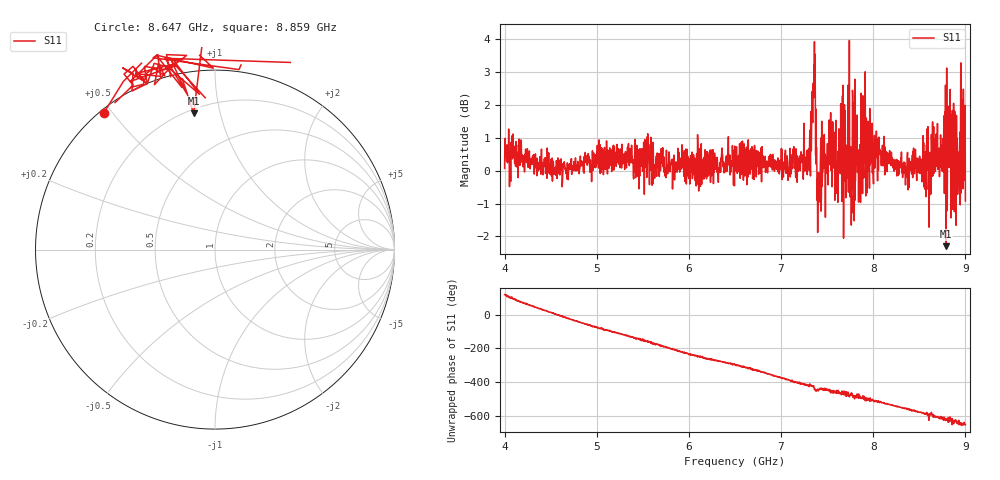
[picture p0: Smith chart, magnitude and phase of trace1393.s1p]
! Created with skrf 1.8.0 (http://scikit-rf.org).
# Hz S RI R 50.0
!freq ReS11 ImS11
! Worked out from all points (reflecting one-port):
!   1601 points, 4 GHz to 9 GHz, reference 50 ohm
!   lowest |S11| = -2.3 dB at 8.791 GHz (marker M1), VSWR 7.62, Z = 11.2 + j41.5 ohm
!   phase of S11 starts at 120 deg and turns -773 deg over the sweep
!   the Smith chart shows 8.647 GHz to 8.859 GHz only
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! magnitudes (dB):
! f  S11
! 4 GHz  0.1
! 4.1 GHz  0.4
! 4.625 GHz  -0.5
! 5.25 GHz  0.4
! 5.875 GHz  0.2
! 6.5 GHz  0.6
! 7.125 GHz  0.2
! 7.294 GHz  0.3
! 7.347 GHz  2.4
! 7.362 GHz  3.9
! 7.397 GHz  -1.9
! 7.412 GHz  -0.5
! 7.453 GHz  0.0
! 7.547 GHz  0.5
! 7.609 GHz  0.3
! 7.65 GHz  0.0
! 7.75 GHz  -0.8
! 7.769 GHz  -1.3
! 7.8 GHz  -0.9
! 7.841 GHz  -1.0
! 7.962 GHz  1.9
! 8.375 GHz  -0.1
! 8.622 GHz  0.5
! 8.656 GHz  1.3
! 8.791 GHz  -2.3
! 8.919 GHz  -0.4
! 8.972 GHz  0.2
! 9 GHz  -0.9
